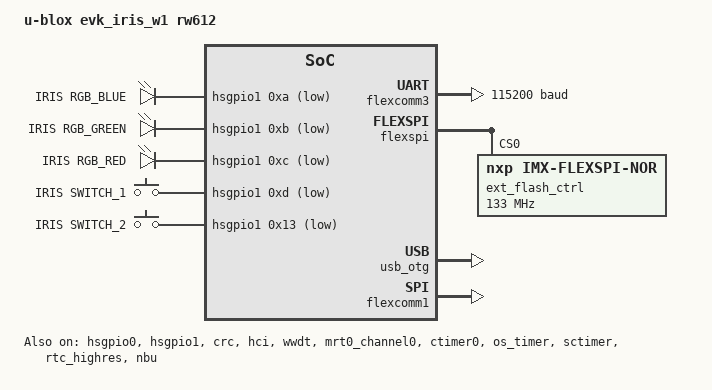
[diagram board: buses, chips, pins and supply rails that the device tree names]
/*
 * Copyright (c) 2026 u-blox AG
 *
 * SPDX-License-Identifier: Apache-2.0
 */

#include "ubx_evk_iris_w1_rw612-pinctrl.dtsi"
#include <zephyr/dt-bindings/input/input-event-codes.h>

/ {
	model = "u-blox evk_iris_w1 rw612";
	compatible = "u-blox,ubx_evk_iris_w1_rw612";

	aliases {
		led0 = &rgb_red;
		led1 = &rgb_green;
		led2 = &rgb_blue;
		sw0 = &user_button_0;
		sw1 = &user_button_1;
		watchdog0 = &wwdt;
		usart-0 = &flexcomm3;
		i2s-0 = &flexcomm0;
		i2c-2 = &flexcomm2;
		pwm-0 = &sctimer;
	};

	chosen {
		zephyr,sram = &sram_data;
		zephyr,console = &flexcomm3;
		zephyr,shell-uart = &flexcomm3;
		zephyr,flash-controller = &ext_flash_ctrl;
		zephyr,code-partition = &slot0_partition;
		zephyr,uart-mcumgr = &flexcomm3;
		zephyr,crc = &crc;
	};

	rgb_leds {
		compatible = "gpio-leds";

		rgb_blue: led_1 {
			gpios = <&hsgpio1 0xa GPIO_ACTIVE_LOW>;
			label = "IRIS RGB_BLUE";
		};

		rgb_green: led_2 {
			gpios = <&hsgpio1 0xb GPIO_ACTIVE_LOW>;
			label = "IRIS RGB_GREEN";
		};

		rgb_red: led_3 {
			gpios = <&hsgpio1 0xc GPIO_ACTIVE_LOW>;
			label = "IRIS RGB_RED";
		};
	};

	sw {
		compatible = "gpio-keys";

		user_button_0: sw_1 {
			label = "IRIS SWITCH_1"; /* GPIO45 */
			gpios = <&hsgpio1 0xd GPIO_ACTIVE_LOW>;
			zephyr,code = <0x2>;
		};

		user_button_1: sw_2 {
			label = "IRIS SWITCH_2"; /* GPIO51 */
			gpios = <&hsgpio1 0x13 GPIO_ACTIVE_LOW>;
			zephyr,code = <0x3>;
		};
	};
};

&flexcomm3 {
	compatible = "nxp,lpc-usart";
	status = "okay";
	current-speed = <115200>;
	pinctrl-0 = <&pinmux_flexcomm3_usart>;
	pinctrl-names = "default";
};

&flexcomm0 {
	compatible = "nxp,lpc-i2s";
	status = "disabled";
	pinctrl-0 = <&pinmux_flexcomm0_i2s>;
	pinctrl-names = "default";
};

&hsgpio0 {
	status = "okay";
	pinctrl-0 = <&pinmux_hsgpio0>;
	pinctrl-names = "default";
};

&hsgpio1 {
	status = "okay";
	pinctrl-0 = <&pinmux_hsgpio1>;
	pinctrl-names = "default";
};

&crc {
	status = "okay";
};

&flexspi {
	ahb-bufferable;
	ahb-prefetch;
	ahb-cacheable;
	ahb-read-addr-opt;
	ahb-boundary = "1024";
	rx-clock-source = <1>;
	rx-clock-source-b = <1>;
	status = "okay";

	ext_flash_ctrl: flash-controller@0 {
		compatible = "nxp,imx-flexspi-nor";
		reg = <0>;
		status = "okay";
		spi-max-frequency = <DT_FREQ_M(133)>;

		#address-cells = <1>;
		#size-cells = <1>;
	};
};

&hci {
	status = "okay";
	wakeup-source;
};

&wwdt {
	status = "okay";
};

&dma0 {
	status = "okay";
};

&mrt0_channel0 {
	status = "okay";
};

&ctimer0 {
	status = "okay";
};

/* OS Timer is the wakeup source for PM mode 2 */
&os_timer {
	status = "okay";
	wakeup-source;
	deep-sleep-counter = <&rtc_highres>;
};

&systick {
	status = "disabled";
};

&sctimer {
	status = "okay";
	pinctrl-0 = <&pinmux_pwm0>;
	pinctrl-names = "default";
};

/* RTC is the wakeup source for PM modes 3,4 */
&rtc_highres {
	status = "okay";
	wakeup-source;
};

&nbu {
	status = "okay";
	wakeup-source;
};

&xtal32 {
	status = "disabled";
};

zephyr_udc0: &usb_otg {
	status = "okay";
};

&flexcomm1 {
	compatible = "nxp,lpc-spi";
	pinctrl-0 = <&pinmux_flexcomm1_spi>;
	pinctrl-names = "default";
	status = "okay";
	#address-cells = <1>;
	#size-cells = <0>;
};
